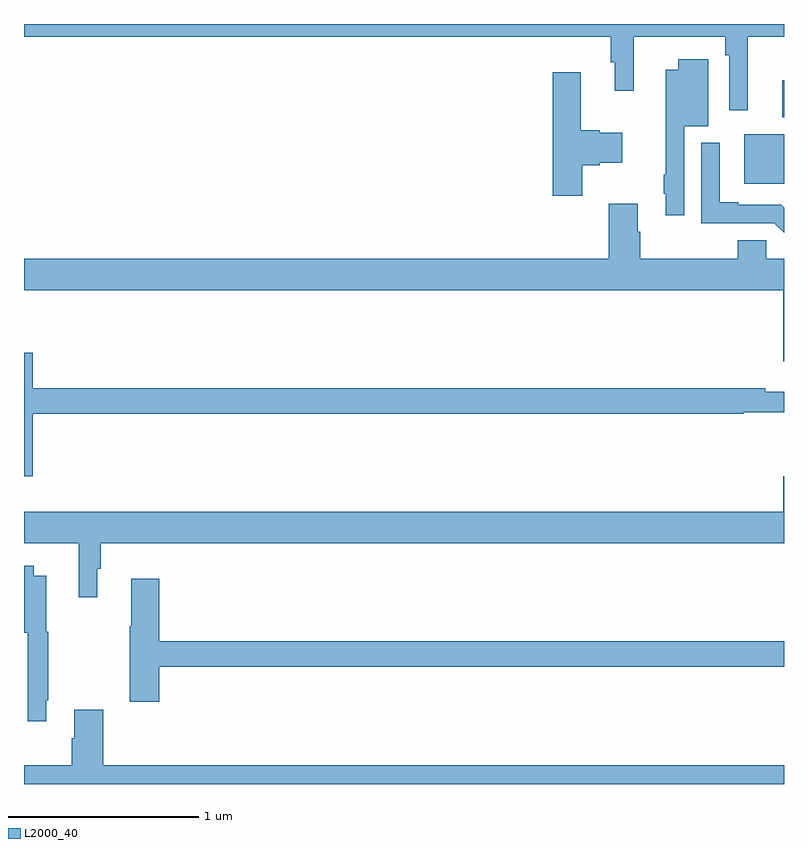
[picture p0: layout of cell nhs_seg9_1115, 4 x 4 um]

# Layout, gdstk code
import gdstk
lib = gdstk.Library(unit=1e-6, precision=1e-09)
def R(c, l, rs):  # rectangles x0, y0, x1, y1
    for r in rs: c.add(gdstk.rectangle(r[:2], r[2:], *l))
def P(c, l, *ps):  # polygons
    for p in ps: c.add(gdstk.Polygon(p, *l))
L2000_40 = (2000, 40)

nhs_seg9_1115 = lib.new_cell('nhs_seg9_1115')
R(nhs_seg9_1115, L2000_40, [(176.792,1183.658,177,1183.921), (176.99,1184.01,177,1184.203)])
P(nhs_seg9_1115, L2000_40, [(176.81,1184.432),(177,1184.432),(177,1184.5),(173,1184.5),(173,1184.432),(176.089,1184.432),(176.089,1184.298),(176.108,1184.298),(176.108,1184.148),(176.208,1184.148),(176.208,1184.432),(176.692,1184.432),(176.692,1184.336),(176.712,1184.336),(176.712,1184.046),(176.81,1184.046)],
  [(176.475,1183.961),(176.602,1183.961),(176.602,1184.314),(176.444,1184.314),(176.444,1184.26),(176.378,1184.26),(176.378,1183.965),(176.377,1183.965),(176.377,1183.706),(176.367,1183.706),(176.367,1183.606),(176.378,1183.606),(176.378,1183.494),(176.475,1183.494)],
  [(175.938,1183.757),(176.031,1183.757),(176.031,1183.769),(176.149,1183.769),(176.149,1183.927),(176.031,1183.927),(176.031,1183.94),(175.93,1183.94),(175.93,1184.245),(175.784,1184.245),(175.784,1183.596),(175.938,1183.596)],
  [(177,1183.533),(176.985,1183.548),(176.758,1183.548),(176.758,1183.561),(176.662,1183.561),(176.662,1183.876),(176.565,1183.876),(176.565,1183.452),(176.949,1183.452),(177,1183.401)],
  [(177,1183.264),(176.907,1183.264),(176.907,1183.362),(176.756,1183.362),(176.756,1183.264),(176.243,1183.264),(176.243,1183.406),(176.23,1183.406),(176.23,1183.555),(176.078,1183.555),(176.078,1183.264),(173,1183.264),(173,1183.1),(176.996,1183.1),(176.996,1182.726),(177,1182.726)],
  [(173.045,1182.448),(176.788,1182.448),(176.788,1182.456),(177,1182.456),(177,1182.565),(176.9,1182.565),(176.9,1182.584),(173.045,1182.584),(173.045,1182.769),(173,1182.769),(173,1182.12),(173.045,1182.12)],
  [(173.386,1181.634),(173.405,1181.634),(173.405,1181.768),(177,1181.768),(177,1182.121),(176.996,1182.121),(176.996,1181.932),(173,1181.932),(173,1181.768),(173.287,1181.768),(173.287,1181.484),(173.386,1181.484)],
  [(173.116,1180.942),(173.128,1180.942),(173.128,1181.301),(173.116,1181.301),(173.116,1181.596),(173.05,1181.596),(173.05,1181.65),(173,1181.65),(173,1181.297),(173.019,1181.297),(173.019,1180.83),(173.116,1180.83)],
  [(173.711,1181.116),(177,1181.116),(177,1181.252),(173.711,1181.252),(173.711,1181.581),(173.564,1181.581),(173.564,1181.329),(173.557,1181.329),(173.557,1180.932),(173.711,1180.932)],
  [(177,1180.6),(173.417,1180.6),(173.417,1180.891),(173.264,1180.891),(173.264,1180.742),(173.252,1180.742),(173.252,1180.6),(173,1180.6),(173,1180.5),(177,1180.5)])

lib.write_gds('nhs_seg9_1115.gds')
